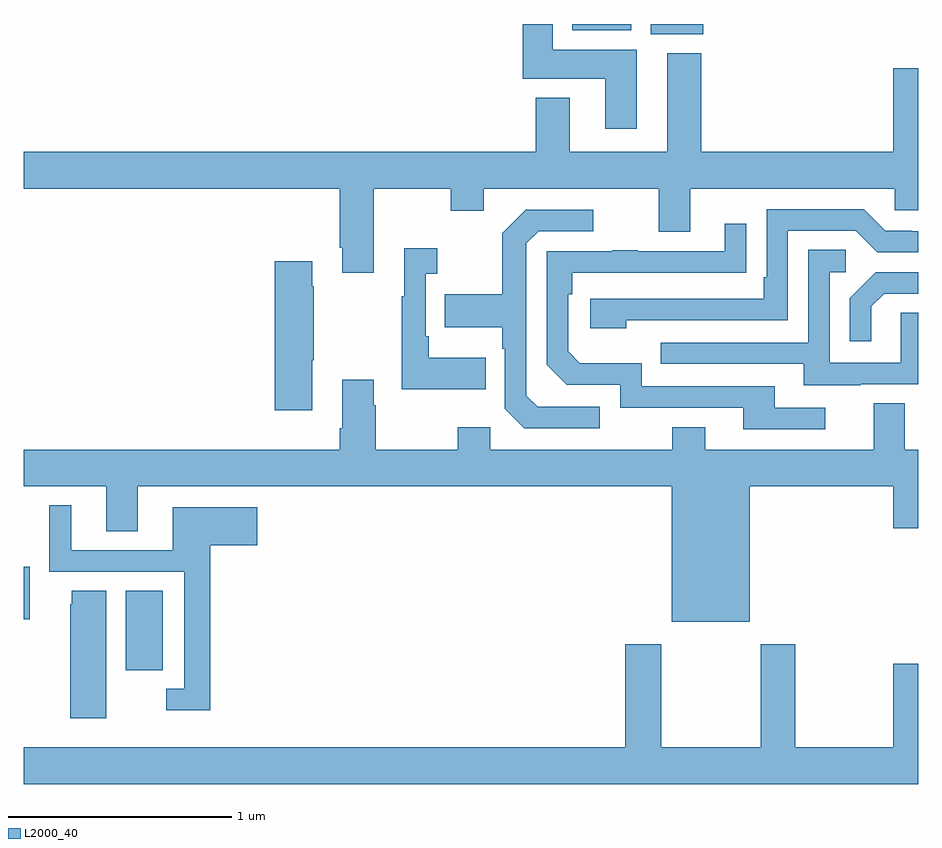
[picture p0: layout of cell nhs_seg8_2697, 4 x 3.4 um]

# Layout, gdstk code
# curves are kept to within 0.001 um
import gdstk
lib = gdstk.Library(unit=1e-6, precision=1e-09)
def R(c, l, rs):  # rectangles x0, y0, x1, y1
    for r in rs: c.add(gdstk.rectangle(r[:2], r[2:], *l))
def P(c, l, *ps):  # polygons
    for p in ps: c.add(gdstk.Polygon(p, *l))
L2000_40 = (2000, 40)

nhs_seg8_2697 = lib.new_cell('nhs_seg8_2697')
R(nhs_seg8_2697, L2000_40, [(281.456,1117.008,281.62,1117.364), (281,1117.238,281.026,1117.471), (283.805,1119.854,284.038,1119.9), (283.454,1119.872,283.717,1119.9)])
P(nhs_seg8_2697, L2000_40, [(283.741,1119.784),(283.366,1119.784),(283.366,1119.9),(283.232,1119.9),(283.232,1119.656),(283.601,1119.656),(283.601,1119.432),(283.741,1119.432)],
  [(282.565,1119.164),(282.91,1119.164),(282.91,1119.065),(283.057,1119.065),(283.057,1119.164),(283.841,1119.164),(283.841,1118.97),(283.981,1118.97),(283.981,1119.164),(284.895,1119.164),(284.895,1119.066),(285,1119.066),(285,1119.703),(284.888,1119.703),(284.888,1119.328),(284.03,1119.328),(284.03,1119.769),(283.877,1119.769),(283.877,1119.328),(283.441,1119.328),(283.441,1119.571),(283.289,1119.571),(283.289,1119.328),(281,1119.328),(281,1119.164),(282.413,1119.164),(282.413,1118.899),(282.425,1118.899),(282.425,1118.787),(282.565,1118.787)],
  [(283.694,1118.574),(284.418,1118.574),(284.418,1118.976),(284.721,1118.976),(284.817,1118.88),(285,1118.88),(285,1118.973),(284.972,1118.973),(284.972,1118.976),(284.853,1118.976),(284.757,1119.072),(284.322,1119.072),(284.322,1118.767),(284.309,1118.767),(284.309,1118.67),(283.533,1118.67),(283.533,1118.54),(283.694,1118.54)],
  [(283.576,1118.187),(283.299,1118.187),(283.248,1118.238),(283.248,1118.919),(283.302,1118.973),(283.546,1118.973),(283.546,1119.069),(283.245,1119.069),(283.14,1118.963),(283.14,1118.691),(282.883,1118.691),(282.883,1118.543),(283.14,1118.543),(283.14,1118.447),(283.152,1118.447),(283.152,1118.178),(283.239,1118.091),(283.576,1118.091)],
  [(284.584,1118.184),(284.359,1118.184),(284.359,1118.28),(283.764,1118.28),(283.764,1118.383),(283.487,1118.383),(283.434,1118.436),(283.434,1118.69),(283.454,1118.69),(283.454,1118.787),(284.231,1118.788),(284.231,1119.007),(284.135,1119.007),(284.135,1118.883),(283.745,1118.883),(283.745,1118.888),(283.633,1118.888),(283.633,1118.883),(283.338,1118.883),(283.338,1118.376),(283.428,1118.286),(283.668,1118.286),(283.668,1118.184),(284.219,1118.184),(284.219,1118.088),(284.584,1118.088)],
  [(283.067,1118.407),(282.811,1118.407),(282.811,1118.503),(282.798,1118.503),(282.798,1118.783),(282.85,1118.783),(282.85,1118.896),(282.701,1118.896),(282.701,1118.683),(282.69,1118.683),(282.69,1118.267),(283.067,1118.267)],
  [(284.743,1118.289),(285,1118.289),(285,1118.609),(284.922,1118.609),(284.922,1118.385),(284.604,1118.385),(284.604,1118.79),(284.677,1118.79),(284.677,1118.891),(284.508,1118.891),(284.508,1118.475),(283.849,1118.475),(283.849,1118.379),(284.489,1118.379),(284.489,1118.285),(284.743,1118.285)],
  [(282.289,1118.395),(282.297,1118.395),(282.297,1118.726),(282.289,1118.726),(282.289,1118.839),(282.122,1118.839),(282.122,1118.172),(282.289,1118.172)],
  [(284.791,1118.637),(284.848,1118.694),(285,1118.694),(285,1118.79),(284.81,1118.79),(284.694,1118.674),(284.694,1118.481),(284.791,1118.481)],
  [(284.248,1117.832),(284.888,1117.832),(284.888,1117.644),(285,1117.644),(285,1117.996),(284.941,1117.996),(284.941,1118.204),(284.801,1118.204),(284.801,1117.996),(284.047,1117.996),(284.047,1118.095),(283.9,1118.095),(283.9,1117.996),(283.086,1117.996),(283.086,1118.095),(282.94,1118.095),(282.94,1117.996),(282.573,1117.996),(282.573,1118.195),(282.565,1118.195),(282.565,1118.308),(282.425,1118.308),(282.425,1118.092),(282.413,1118.092),(282.413,1117.996),(281,1117.996),(281,1117.832),(281.369,1117.832),(281.369,1117.63),(281.509,1117.63),(281.509,1117.832),(283.898,1117.832),(283.898,1117.226),(284.248,1117.226)],
  [(281.834,1117.568),(282.043,1117.568),(282.043,1117.738),(281.666,1117.738),(281.666,1117.545),(281.212,1117.545),(281.212,1117.747),(281.114,1117.747),(281.114,1117.449),(281.718,1117.449),(281.718,1116.927),(281.637,1116.927),(281.637,1116.83),(281.834,1116.83)],
  [(281.368,1117.364),(281.213,1117.364),(281.213,1117.305),(281.207,1117.305),(281.207,1116.795),(281.368,1116.795)],
  [(285,1117.039),(284.888,1117.039),(284.888,1116.664),(284.451,1116.664),(284.451,1117.126),(284.296,1117.126),(284.296,1116.664),(283.851,1116.664),(283.851,1117.126),(283.691,1117.126),(283.691,1116.664),(281,1116.664),(281,1116.5),(285,1116.5)])

lib.write_gds('nhs_seg8_2697.gds')
